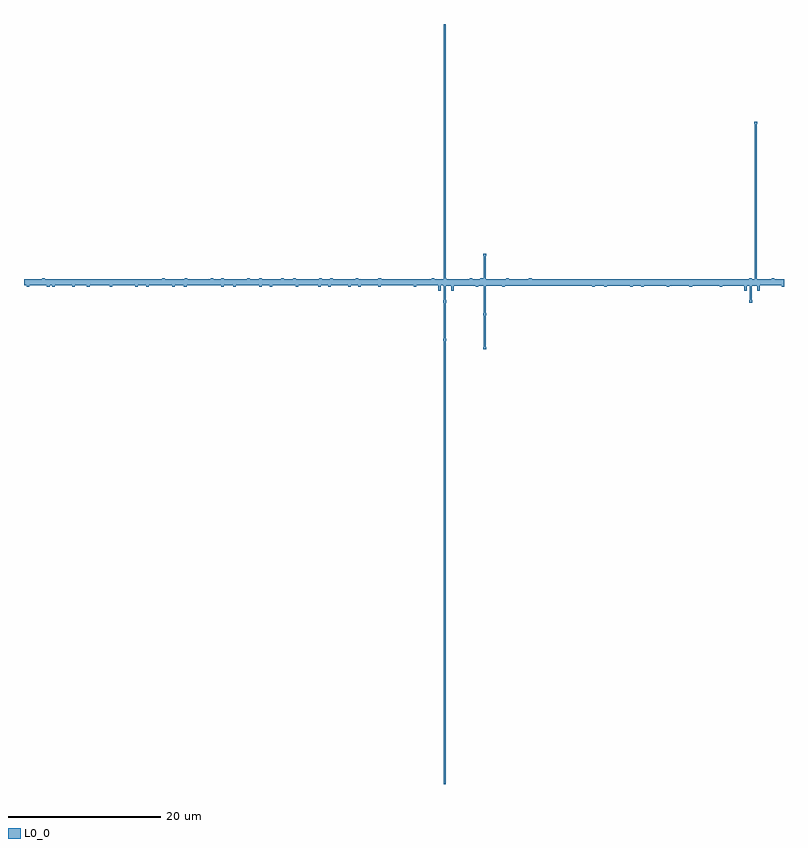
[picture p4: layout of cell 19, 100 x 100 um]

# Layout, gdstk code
import gdstk
lib = gdstk.Library(unit=1e-6, precision=1e-09)
def P(c, l, *ps):  # polygons
    for p in ps: c.add(gdstk.Polygon(p, *l))
L0_0 = (0, 0)

c_19 = lib.new_cell('19')
P(c_19, L0_0, [(939.84,965.6),(939.06,965.6),(939.06,965.425),(938.72,965.425),(938.72,965.6),(936.08,965.6),(936.08,965.425),(935.74,965.425),(935.74,965.6),(932.685,965.6),(932.685,965.425),(932.345,965.425),(932.345,965.6),(931.285,965.6),(931.285,965.425),(930.945,965.425),(930.945,965.6),(927.845,965.6),(927.845,965.425),(927.505,965.425),(927.505,965.6),(926.29,965.6),(926.29,965.425),(925.95,965.425),(925.95,965.6),(924.66,965.6),(924.66,966.4),(939.84,966.4),(939.84,965.6)],
  [(900,966.4),(1000,966.4),(1000,965.6),(900,965.6),(900,966.4)],
  [(951.72,966.4),(951.72,965.6),(950.4,965.6),(950.4,966.4),(951.72,966.4)],
  [(900,966.4),(903.54,966.4),(903.54,965.6),(903.36,965.6),(903.36,965.425),(903.02,965.425),(903.02,965.6),(900.72,965.6),(900.72,965.425),(900.38,965.425),(900.38,965.6),(900,965.6),(900,966.4)],
  [(932.58,965.6),(932.58,966.4),(933.87,966.4),(933.87,966.575),(934.21,966.575),(934.21,966.4),(935.425,966.4),(935.425,966.575),(935.765,966.575),(935.765,966.4),(938.865,966.4),(938.865,966.575),(939.205,966.575),(939.205,966.4),(940.265,966.4),(940.265,966.575),(940.605,966.575),(940.605,966.4),(943.66,966.4),(943.66,966.575),(944,966.575),(944,966.4),(946.64,966.4),(946.64,966.575),(946.98,966.575),(946.98,966.4),(947.76,966.4),(947.76,965.6),(932.58,965.6)],
  [(950.4,966.4),(951.06,966.4),(951.06,965.6),(950.4,965.6),(950.4,966.4)],
  [(917.4,966.4),(918.18,966.4),(918.18,966.575),(918.52,966.575),(918.52,966.4),(921.16,966.4),(921.16,966.575),(921.5,966.575),(921.5,966.4),(924.555,966.4),(924.555,966.575),(924.895,966.575),(924.895,966.4),(925.955,966.4),(925.955,966.575),(926.295,966.575),(926.295,966.4),(929.395,966.4),(929.395,966.575),(929.735,966.575),(929.735,966.4),(930.95,966.4),(930.95,966.575),(931.29,966.575),(931.29,966.4),(932.58,966.4),(932.58,965.6),(917.4,965.6),(917.4,966.4)],
  [(924,966.4),(924.66,966.4),(924.66,965.6),(924,965.6),(924,966.4)],
  [(993.96,966.4),(993.96,965.6),(988.68,965.6),(988.68,966.4),(993.96,966.4)],
  [(1000,965.6),(994.62,965.6),(994.62,966.4),(995.4,966.4),(995.4,966.575),(995.74,966.575),(995.74,966.4),(998.38,966.4),(998.38,966.575),(998.72,966.575),(998.72,966.4),(1000,966.4),(1000,965.6)],
  [(964.26,966.4),(964.26,965.6),(963.27,965.6),(963.27,965.425),(962.93,965.425),(962.93,965.6),(959.79,965.6),(959.79,965.425),(959.45,965.425),(959.45,965.6),(956.54,965.6),(956.54,964.92),(956.2,964.92),(956.2,965.6),(954.85,965.6),(954.85,964.92),(954.51,964.92),(954.51,965.6),(951.6,965.6),(951.6,965.425),(951.26,965.425),(951.26,965.6),(951.06,965.6),(951.06,966.4),(964.26,966.4)],
  [(972.18,966.4),(973.5,966.4),(973.5,965.6),(972.18,965.6),(972.18,966.4)],
  [(922.68,966.4),(924,966.4),(924,965.6),(922.68,965.6),(922.68,966.4)],
  [(964.26,966.4),(969.54,966.4),(969.54,965.6),(964.26,965.6),(964.26,966.4)],
  [(947.76,966.4),(947.76,965.6),(946.96,965.6),(946.96,965.425),(946.62,965.425),(946.62,965.6),(944.32,965.6),(944.32,965.425),(943.98,965.425),(943.98,965.6),(943.8,965.6),(943.8,966.4),(947.76,966.4)],
  [(988.68,965.6),(987.9,965.6),(987.9,965.425),(987.56,965.425),(987.56,965.6),(984.92,965.6),(984.92,965.425),(984.58,965.425),(984.58,965.6),(981.525,965.6),(981.525,965.425),(981.185,965.425),(981.185,965.6),(980.125,965.6),(980.125,965.425),(979.785,965.425),(979.785,965.6),(976.685,965.6),(976.685,965.425),(976.345,965.425),(976.345,965.6),(975.13,965.6),(975.13,965.425),(974.79,965.425),(974.79,965.6),(973.5,965.6),(973.5,966.4),(988.68,966.4),(988.68,965.6)],
  [(943.8,966.4),(943.8,965.6),(943,965.6),(943,965.425),(942.66,965.425),(942.66,965.6),(940.36,965.6),(940.36,965.425),(940.02,965.425),(940.02,965.6),(939.84,965.6),(939.84,966.4),(943.8,966.4)],
  [(950.4,966.4),(950.4,965.6),(947.76,965.6),(947.76,966.4),(950.4,966.4)],
  [(922.68,966.4),(922.68,965.6),(921.39,965.6),(921.39,965.425),(921.05,965.425),(921.05,965.6),(919.835,965.6),(919.835,965.425),(919.495,965.425),(919.495,965.6),(916.395,965.6),(916.395,965.425),(916.055,965.425),(916.055,965.6),(914.995,965.6),(914.995,965.425),(914.655,965.425),(914.655,965.6),(911.6,965.6),(911.6,965.425),(911.26,965.425),(911.26,965.6),(908.62,965.6),(908.62,965.425),(908.28,965.425),(908.28,965.6),(907.5,965.6),(907.5,966.4),(922.68,966.4)],
  [(916.74,966.4),(916.74,965.6),(914.1,965.6),(914.1,966.4),(916.74,966.4)],
  [(914.1,966.4),(914.1,965.6),(903.54,965.6),(903.54,966.4),(914.1,966.4)],
  [(952.38,965.6),(952.38,966.4),(953.67,966.4),(953.67,966.575),(954.01,966.575),(954.01,966.4),(955.225,966.4),(955.225,966.575),(955.565,966.575),(955.565,966.4),(958.665,966.4),(958.665,966.575),(959.005,966.575),(959.005,966.4),(960.065,966.4),(960.065,966.575),(960.405,966.575),(960.405,966.4),(963.46,966.4),(963.46,966.575),(963.8,966.575),(963.8,966.4),(966.44,966.4),(966.44,966.575),(966.78,966.575),(966.78,966.4),(967.56,966.4),(967.56,965.6),(952.38,965.6)],
  [(907.5,966.4),(907.5,965.6),(906.7,965.6),(906.7,965.425),(906.36,965.425),(906.36,965.6),(904.06,965.6),(904.06,965.425),(903.72,965.425),(903.72,965.6),(903.54,965.6),(903.54,966.4),(907.5,966.4)],
  [(1000,965.425),(999.71,965.425),(999.71,965.6),(996.8,965.6),(996.8,964.92),(996.46,964.92),(996.46,965.6),(995.11,965.6),(995.11,964.92),(994.77,964.92),(994.77,965.6),(991.86,965.6),(991.86,965.425),(991.52,965.425),(991.52,965.6),(991.32,965.6),(991.32,966.4),(1000,966.4),(1000,965.425)],
  [(988.68,966.4),(991.32,966.4),(991.32,965.6),(988.68,965.6),(988.68,966.4)],
  [(969.54,966.4),(972.18,966.4),(972.18,965.6),(969.54,965.6),(969.54,966.4)],
  [(947.76,966.4),(950.4,966.4),(950.4,965.6),(947.76,965.6),(947.76,966.4)],
  [(994.62,966.4),(994.62,965.6),(993.96,965.6),(993.96,966.4),(994.62,966.4)],
  [(952.38,966.4),(952.38,965.6),(951.72,965.6),(951.72,966.4),(952.38,966.4)],
  [(917.4,966.4),(917.4,965.6),(916.74,965.6),(916.74,966.4),(917.4,966.4)],
  [(900,966.4),(902.42,966.4),(902.42,966.575),(902.76,966.575),(902.76,966.4),(903.54,966.4),(903.54,965.6),(900,965.6),(900,966.4)],
  [(988.68,966.4),(988.68,965.6),(967.56,965.6),(967.56,966.4),(988.68,966.4)],
  [(939.84,965.6),(939.06,965.6),(939.06,965.425),(938.72,965.425),(938.72,965.6),(936.08,965.6),(936.08,965.425),(935.74,965.425),(935.74,965.6),(932.685,965.6),(932.685,965.425),(932.345,965.425),(932.345,965.6),(931.285,965.6),(931.285,965.425),(930.945,965.425),(930.945,965.6),(927.845,965.6),(927.845,965.425),(927.505,965.425),(927.505,965.6),(926.29,965.6),(926.29,965.425),(925.95,965.425),(925.95,965.6),(924.66,965.6),(924.66,966.4),(939.84,966.4),(939.84,965.6)],
  [(943.8,966.4),(943.8,965.6),(943,965.6),(943,965.425),(942.66,965.425),(942.66,965.6),(940.36,965.6),(940.36,965.425),(940.02,965.425),(940.02,965.6),(939.84,965.6),(939.84,966.4),(943.8,966.4)],
  [(950.4,966.4),(950.4,965.6),(947.76,965.6),(947.76,966.4),(950.4,966.4)],
  [(947.76,966.4),(950.4,966.4),(950.4,965.6),(947.76,965.6),(947.76,966.4)],
  [(951.72,966.4),(951.72,965.6),(950.4,965.6),(950.4,966.4),(951.72,966.4)],
  [(952.38,966.4),(952.38,965.6),(951.72,965.6),(951.72,966.4),(952.38,966.4)],
  [(964.26,966.4),(964.26,965.6),(963.27,965.6),(963.27,965.425),(962.93,965.425),(962.93,965.6),(959.79,965.6),(959.79,965.425),(959.45,965.425),(959.45,965.6),(956.54,965.6),(956.54,964.92),(956.2,964.92),(956.2,965.6),(954.85,965.6),(954.85,964.92),(954.51,964.92),(954.51,965.6),(951.6,965.6),(951.6,965.425),(951.26,965.425),(951.26,965.6),(951.06,965.6),(951.06,966.4),(964.26,966.4)],
  [(932.58,965.6),(932.58,966.4),(933.87,966.4),(933.87,966.575),(934.21,966.575),(934.21,966.4),(935.425,966.4),(935.425,966.575),(935.765,966.575),(935.765,966.4),(938.865,966.4),(938.865,966.575),(939.205,966.575),(939.205,966.4),(940.265,966.4),(940.265,966.575),(940.605,966.575),(940.605,966.4),(943.66,966.4),(943.66,966.575),(944,966.575),(944,966.4),(946.64,966.4),(946.64,966.575),(946.98,966.575),(946.98,966.4),(947.76,966.4),(947.76,965.6),(932.58,965.6)],
  [(917.4,966.4),(918.18,966.4),(918.18,966.575),(918.52,966.575),(918.52,966.4),(921.16,966.4),(921.16,966.575),(921.5,966.575),(921.5,966.4),(924.555,966.4),(924.555,966.575),(924.895,966.575),(924.895,966.4),(925.955,966.4),(925.955,966.575),(926.295,966.575),(926.295,966.4),(929.395,966.4),(929.395,966.575),(929.735,966.575),(929.735,966.4),(930.95,966.4),(930.95,966.575),(931.29,966.575),(931.29,966.4),(932.58,966.4),(932.58,965.6),(917.4,965.6),(917.4,966.4)],
  [(950.4,966.4),(951.06,966.4),(951.06,965.6),(950.4,965.6),(950.4,966.4)],
  [(947.76,966.4),(947.76,965.6),(946.96,965.6),(946.96,965.425),(946.62,965.425),(946.62,965.6),(944.32,965.6),(944.32,965.425),(943.98,965.425),(943.98,965.6),(943.8,965.6),(943.8,966.4),(947.76,966.4)],
  [(993.96,966.4),(993.96,965.6),(988.68,965.6),(988.68,966.4),(993.96,966.4)],
  [(932.58,965.6),(932.58,966.4),(933.87,966.4),(933.87,966.575),(934.21,966.575),(934.21,966.4),(935.425,966.4),(935.425,966.575),(935.765,966.575),(935.765,966.4),(938.865,966.4),(938.865,966.575),(939.205,966.575),(939.205,966.4),(940.265,966.4),(940.265,966.575),(940.605,966.575),(940.605,966.4),(943.66,966.4),(943.66,966.575),(944,966.575),(944,966.4),(946.64,966.4),(946.64,966.575),(946.98,966.575),(946.98,966.4),(947.76,966.4),(947.76,965.6),(932.58,965.6)],
  [(988.68,965.6),(987.9,965.6),(987.9,965.425),(987.56,965.425),(987.56,965.6),(984.92,965.6),(984.92,965.425),(984.58,965.425),(984.58,965.6),(981.525,965.6),(981.525,965.425),(981.185,965.425),(981.185,965.6),(980.125,965.6),(980.125,965.425),(979.785,965.425),(979.785,965.6),(976.685,965.6),(976.685,965.425),(976.345,965.425),(976.345,965.6),(975.13,965.6),(975.13,965.425),(974.79,965.425),(974.79,965.6),(973.5,965.6),(973.5,966.4),(988.68,966.4),(988.68,965.6)],
  [(988.68,966.4),(991.32,966.4),(991.32,965.6),(988.68,965.6),(988.68,966.4)],
  [(969.54,966.4),(972.18,966.4),(972.18,965.6),(969.54,965.6),(969.54,966.4)],
  [(950.4,966.4),(950.4,965.6),(947.76,965.6),(947.76,966.4),(950.4,966.4)],
  [(947.76,966.4),(950.4,966.4),(950.4,965.6),(947.76,965.6),(947.76,966.4)],
  [(951.72,966.4),(951.72,965.6),(950.4,965.6),(950.4,966.4),(951.72,966.4)],
  [(952.38,966.4),(952.38,965.6),(951.72,965.6),(951.72,966.4),(952.38,966.4)],
  [(952.38,965.6),(952.38,966.4),(953.67,966.4),(953.67,966.575),(954.01,966.575),(954.01,966.4),(955.225,966.4),(955.225,966.575),(955.565,966.575),(955.565,966.4),(958.665,966.4),(958.665,966.575),(959.005,966.575),(959.005,966.4),(960.065,966.4),(960.065,966.575),(960.405,966.575),(960.405,966.4),(963.46,966.4),(963.46,966.575),(963.8,966.575),(963.8,966.4),(966.44,966.4),(966.44,966.575),(966.78,966.575),(966.78,966.4),(967.56,966.4),(967.56,965.6),(952.38,965.6)],
  [(964.26,966.4),(964.26,965.6),(963.27,965.6),(963.27,965.425),(962.93,965.425),(962.93,965.6),(959.79,965.6),(959.79,965.425),(959.45,965.425),(959.45,965.6),(956.54,965.6),(956.54,964.92),(956.2,964.92),(956.2,965.6),(954.85,965.6),(954.85,964.92),(954.51,964.92),(954.51,965.6),(951.6,965.6),(951.6,965.425),(951.26,965.425),(951.26,965.6),(951.06,965.6),(951.06,966.4),(964.26,966.4)],
  [(972.18,966.4),(973.5,966.4),(973.5,965.6),(972.18,965.6),(972.18,966.4)],
  [(950.4,966.4),(951.06,966.4),(951.06,965.6),(950.4,965.6),(950.4,966.4)],
  [(964.26,966.4),(969.54,966.4),(969.54,965.6),(964.26,965.6),(964.26,966.4)],
  [(988.68,966.4),(988.68,965.6),(967.56,965.6),(967.56,966.4),(988.68,966.4)],
  [(993.96,966.4),(993.96,965.6),(988.68,965.6),(988.68,966.4),(993.96,966.4)],
  [(988.68,965.6),(987.9,965.6),(987.9,965.425),(987.56,965.425),(987.56,965.6),(984.92,965.6),(984.92,965.425),(984.58,965.425),(984.58,965.6),(981.525,965.6),(981.525,965.425),(981.185,965.425),(981.185,965.6),(980.125,965.6),(980.125,965.425),(979.785,965.425),(979.785,965.6),(976.685,965.6),(976.685,965.425),(976.345,965.425),(976.345,965.6),(975.13,965.6),(975.13,965.425),(974.79,965.425),(974.79,965.6),(973.5,965.6),(973.5,966.4),(988.68,966.4),(988.68,965.6)],
  [(1000,965.425),(999.71,965.425),(999.71,965.6),(996.8,965.6),(996.8,964.92),(996.46,964.92),(996.46,965.6),(995.11,965.6),(995.11,964.92),(994.77,964.92),(994.77,965.6),(991.86,965.6),(991.86,965.425),(991.52,965.425),(991.52,965.6),(991.32,965.6),(991.32,966.4),(1000,966.4),(1000,965.425)],
  [(988.68,966.4),(991.32,966.4),(991.32,965.6),(988.68,965.6),(988.68,966.4)],
  [(969.54,966.4),(972.18,966.4),(972.18,965.6),(969.54,965.6),(969.54,966.4)],
  [(1000,965.6),(994.62,965.6),(994.62,966.4),(995.4,966.4),(995.4,966.575),(995.74,966.575),(995.74,966.4),(998.38,966.4),(998.38,966.575),(998.72,966.575),(998.72,966.4),(1000,966.4),(1000,965.6)],
  [(994.62,966.4),(994.62,965.6),(993.96,965.6),(993.96,966.4),(994.62,966.4)],
  [(952.38,965.6),(952.38,966.4),(953.67,966.4),(953.67,966.575),(954.01,966.575),(954.01,966.4),(955.225,966.4),(955.225,966.575),(955.565,966.575),(955.565,966.4),(958.665,966.4),(958.665,966.575),(959.005,966.575),(959.005,966.4),(960.065,966.4),(960.065,966.575),(960.405,966.575),(960.405,966.4),(963.46,966.4),(963.46,966.575),(963.8,966.575),(963.8,966.4),(966.44,966.4),(966.44,966.575),(966.78,966.575),(966.78,966.4),(967.56,966.4),(967.56,965.6),(952.38,965.6)],
  [(972.18,966.4),(973.5,966.4),(973.5,965.6),(972.18,965.6),(972.18,966.4)],
  [(964.26,966.4),(969.54,966.4),(969.54,965.6),(964.26,965.6),(964.26,966.4)],
  [(988.68,966.4),(988.68,965.6),(967.56,965.6),(967.56,966.4),(988.68,966.4)],
  [(993.96,966.4),(993.96,965.6),(988.68,965.6),(988.68,966.4),(993.96,966.4)],
  [(988.68,965.6),(987.9,965.6),(987.9,965.425),(987.56,965.425),(987.56,965.6),(984.92,965.6),(984.92,965.425),(984.58,965.425),(984.58,965.6),(981.525,965.6),(981.525,965.425),(981.185,965.425),(981.185,965.6),(980.125,965.6),(980.125,965.425),(979.785,965.425),(979.785,965.6),(976.685,965.6),(976.685,965.425),(976.345,965.425),(976.345,965.6),(975.13,965.6),(975.13,965.425),(974.79,965.425),(974.79,965.6),(973.5,965.6),(973.5,966.4),(988.68,966.4),(988.68,965.6)],
  [(988.68,966.4),(991.32,966.4),(991.32,965.6),(988.68,965.6),(988.68,966.4)],
  [(969.54,966.4),(972.18,966.4),(972.18,965.6),(969.54,965.6),(969.54,966.4)],
  [(994.62,966.4),(994.62,965.6),(993.96,965.6),(993.96,966.4),(994.62,966.4)],
  [(952.38,965.6),(952.38,966.4),(953.67,966.4),(953.67,966.575),(954.01,966.575),(954.01,966.4),(955.225,966.4),(955.225,966.575),(955.565,966.575),(955.565,966.4),(958.665,966.4),(958.665,966.575),(959.005,966.575),(959.005,966.4),(960.065,966.4),(960.065,966.575),(960.405,966.575),(960.405,966.4),(963.46,966.4),(963.46,966.575),(963.8,966.575),(963.8,966.4),(966.44,966.4),(966.44,966.575),(966.78,966.575),(966.78,966.4),(967.56,966.4),(967.56,965.6),(952.38,965.6)],
  [(972.18,966.4),(973.5,966.4),(973.5,965.6),(972.18,965.6),(972.18,966.4)],
  [(964.26,966.4),(969.54,966.4),(969.54,965.6),(964.26,965.6),(964.26,966.4)],
  [(988.68,966.4),(988.68,965.6),(967.56,965.6),(967.56,966.4),(988.68,966.4)],
  [(988.68,965.6),(987.9,965.6),(987.9,965.425),(987.56,965.425),(987.56,965.6),(984.92,965.6),(984.92,965.425),(984.58,965.425),(984.58,965.6),(981.525,965.6),(981.525,965.425),(981.185,965.425),(981.185,965.6),(980.125,965.6),(980.125,965.425),(979.785,965.425),(979.785,965.6),(976.685,965.6),(976.685,965.425),(976.345,965.425),(976.345,965.6),(975.13,965.6),(975.13,965.425),(974.79,965.425),(974.79,965.6),(973.5,965.6),(973.5,966.4),(988.68,966.4),(988.68,965.6)],
  [(988.68,966.4),(991.32,966.4),(991.32,965.6),(988.68,965.6),(988.68,966.4)],
  [(969.54,966.4),(972.18,966.4),(972.18,965.6),(969.54,965.6),(969.54,966.4)],
  [(952.38,965.6),(952.38,966.4),(953.67,966.4),(953.67,966.575),(954.01,966.575),(954.01,966.4),(955.225,966.4),(955.225,966.575),(955.565,966.575),(955.565,966.4),(958.665,966.4),(958.665,966.575),(959.005,966.575),(959.005,966.4),(960.065,966.4),(960.065,966.575),(960.405,966.575),(960.405,966.4),(963.46,966.4),(963.46,966.575),(963.8,966.575),(963.8,966.4),(966.44,966.4),(966.44,966.575),(966.78,966.575),(966.78,966.4),(967.56,966.4),(967.56,965.6),(952.38,965.6)],
  [(972.18,966.4),(973.5,966.4),(973.5,965.6),(972.18,965.6),(972.18,966.4)],
  [(964.26,966.4),(969.54,966.4),(969.54,965.6),(964.26,965.6),(964.26,966.4)],
  [(988.68,966.4),(988.68,965.6),(967.56,965.6),(967.56,966.4),(988.68,966.4)],
  [(988.68,965.6),(987.9,965.6),(987.9,965.425),(987.56,965.425),(987.56,965.6),(984.92,965.6),(984.92,965.425),(984.58,965.425),(984.58,965.6),(981.525,965.6),(981.525,965.425),(981.185,965.425),(981.185,965.6),(980.125,965.6),(980.125,965.425),(979.785,965.425),(979.785,965.6),(976.685,965.6),(976.685,965.425),(976.345,965.425),(976.345,965.6),(975.13,965.6),(975.13,965.425),(974.79,965.425),(974.79,965.6),(973.5,965.6),(973.5,966.4),(988.68,966.4),(988.68,965.6)],
  [(988.68,966.4),(991.32,966.4),(991.32,965.6),(988.68,965.6),(988.68,966.4)],
  [(969.54,966.4),(972.18,966.4),(972.18,965.6),(969.54,965.6),(969.54,966.4)],
  [(952.38,965.6),(952.38,966.4),(953.67,966.4),(953.67,966.575),(954.01,966.575),(954.01,966.4),(955.225,966.4),(955.225,966.575),(955.565,966.575),(955.565,966.4),(958.665,966.4),(958.665,966.575),(959.005,966.575),(959.005,966.4),(960.065,966.4),(960.065,966.575),(960.405,966.575),(960.405,966.4),(963.46,966.4),(963.46,966.575),(963.8,966.575),(963.8,966.4),(966.44,966.4),(966.44,966.575),(966.78,966.575),(966.78,966.4),(967.56,966.4),(967.56,965.6),(952.38,965.6)],
  [(972.18,966.4),(973.5,966.4),(973.5,965.6),(972.18,965.6),(972.18,966.4)],
  [(988.68,966.4),(988.68,965.6),(967.56,965.6),(967.56,966.4),(988.68,966.4)],
  [(988.68,965.6),(987.9,965.6),(987.9,965.425),(987.56,965.425),(987.56,965.6),(984.92,965.6),(984.92,965.425),(984.58,965.425),(984.58,965.6),(981.525,965.6),(981.525,965.425),(981.185,965.425),(981.185,965.6),(980.125,965.6),(980.125,965.425),(979.785,965.425),(979.785,965.6),(976.685,965.6),(976.685,965.425),(976.345,965.425),(976.345,965.6),(975.13,965.6),(975.13,965.425),(974.79,965.425),(974.79,965.6),(973.5,965.6),(973.5,966.4),(988.68,966.4),(988.68,965.6)],
  [(952.38,965.6),(952.38,966.4),(953.67,966.4),(953.67,966.575),(954.01,966.575),(954.01,966.4),(955.225,966.4),(955.225,966.575),(955.565,966.575),(955.565,966.4),(958.665,966.4),(958.665,966.575),(959.005,966.575),(959.005,966.4),(960.065,966.4),(960.065,966.575),(960.405,966.575),(960.405,966.4),(963.46,966.4),(963.46,966.575),(963.8,966.575),(963.8,966.4),(966.44,966.4),(966.44,966.575),(966.78,966.575),(966.78,966.4),(967.56,966.4),(967.56,965.6),(952.38,965.6)],
  [(988.68,966.4),(988.68,965.6),(967.56,965.6),(967.56,966.4),(988.68,966.4)],
  [(972.18,966.4),(973.5,966.4),(973.5,965.6),(972.18,965.6),(972.18,966.4)],
  [(994.62,966.4),(994.62,965.6),(993.96,965.6),(993.96,966.4),(994.62,966.4)],
  [(1000,965.6),(994.62,965.6),(994.62,966.4),(995.4,966.4),(995.4,966.575),(995.74,966.575),(995.74,966.4),(998.38,966.4),(998.38,966.575),(998.72,966.575),(998.72,966.4),(1000,966.4),(1000,965.6)],
  [(955.16,963.62),(955.54,963.62),(955.54,963.34),(955.16,963.34),(955.16,963.62)],
  [(955.16,958.58),(955.54,958.58),(955.54,958.3),(955.16,958.3),(955.16,958.58)],
  [(955.16,965.86),(955.54,965.86),(955.54,965.58),(955.16,965.58),(955.16,965.86)],
  [(955.21,963.34),(955.21,965.86),(955.49,965.86),(955.49,963.34),(955.21,963.34)],
  [(955.21,958.3),(955.21,963.62),(955.49,963.62),(955.49,958.3),(955.21,958.3)],
  [(995.42,963.62),(995.8,963.62),(995.8,963.34),(995.42,963.34),(995.42,963.62)],
  [(995.47,963.34),(995.47,965.86),(995.75,965.86),(995.75,963.34),(995.47,963.34)],
  [(995.42,965.86),(995.8,965.86),(995.8,965.58),(995.42,965.58),(995.42,965.86)],
  [(960.44,961.94),(960.82,961.94),(960.82,961.66),(960.44,961.66),(960.44,961.94)],
  [(960.49,961.66),(960.49,966.42),(960.77,966.42),(960.77,961.66),(960.49,961.66)],
  [(960.49,957.18),(960.49,961.94),(960.77,961.94),(960.77,957.18),(960.49,957.18)],
  [(960.49,966.14),(960.49,969.78),(960.77,969.78),(960.77,966.14),(960.49,966.14)],
  [(960.44,966.42),(960.82,966.42),(960.82,966.14),(960.44,966.14),(960.44,966.42)],
  [(960.44,957.46),(960.82,957.46),(960.82,957.18),(960.44,957.18),(960.44,957.46)],
  [(960.44,969.78),(960.82,969.78),(960.82,969.5),(960.44,969.5),(960.44,969.78)],
  [(960.44,966.42),(960.82,966.42),(960.82,966.14),(960.44,966.14),(960.44,966.42)],
  [(960.49,966.14),(960.49,969.78),(960.77,969.78),(960.77,966.14),(960.49,966.14)],
  [(960.44,969.78),(960.82,969.78),(960.82,969.5),(960.44,969.5),(960.44,969.78)],
  [(995.47,965.86),(996.41,965.86),(996.41,965.58),(995.47,965.58),(995.47,965.86)],
  [(955.16,965.86),(955.54,965.86),(955.54,965.58),(955.16,965.58),(955.16,965.86)],
  [(996.08,965.86),(996.46,965.86),(996.46,965.58),(996.08,965.58),(996.08,965.86)],
  [(964.4,965.86),(964.78,965.86),(964.78,965.58),(964.4,965.58),(964.4,965.86)],
  [(995.42,965.86),(995.8,965.86),(995.8,965.58),(995.42,965.58),(995.42,965.86)],
  [(955.21,965.86),(964.73,965.86),(964.73,965.58),(955.21,965.58),(955.21,965.86)],
  [(964.45,965.86),(995.75,965.86),(995.75,965.58),(964.45,965.58),(964.45,965.86)],
  [(995.47,965.86),(996.41,965.86),(996.41,965.58),(995.47,965.58),(995.47,965.86)],
  [(996.08,965.86),(996.46,965.86),(996.46,965.58),(996.08,965.58),(996.08,965.86)],
  [(964.4,965.86),(964.78,965.86),(964.78,965.58),(964.4,965.58),(964.4,965.86)],
  [(995.42,965.86),(995.8,965.86),(995.8,965.58),(995.42,965.58),(995.42,965.86)],
  [(964.45,965.86),(995.75,965.86),(995.75,965.58),(964.45,965.58),(964.45,965.86)],
  [(995.47,965.86),(996.41,965.86),(996.41,965.58),(995.47,965.58),(995.47,965.86)],
  [(995.42,965.86),(995.8,965.86),(995.8,965.58),(995.42,965.58),(995.42,965.86)],
  [(996.08,965.86),(996.46,965.86),(996.46,965.58),(996.08,965.58),(996.08,965.86)],
  [(1000,966.14),(960.49,966.14),(960.49,966.42),(1000,966.42),(1000,966.14)],
  [(960.44,966.42),(960.82,966.42),(960.82,966.14),(960.44,966.14),(960.44,966.42)],
  [(955.49,1000),(955.49,900),(955.21,900),(955.21,1000),(955.49,1000)],
  [(996.08,965.86),(996.46,965.86),(996.46,965.58),(996.08,965.58),(996.08,965.86)],
  [(996.08,987.14),(996.46,987.14),(996.46,986.86),(996.08,986.86),(996.08,987.14)],
  [(996.13,965.58),(996.13,987.14),(996.41,987.14),(996.41,965.58),(996.13,965.58)])

lib.write_gds('19.gds')
